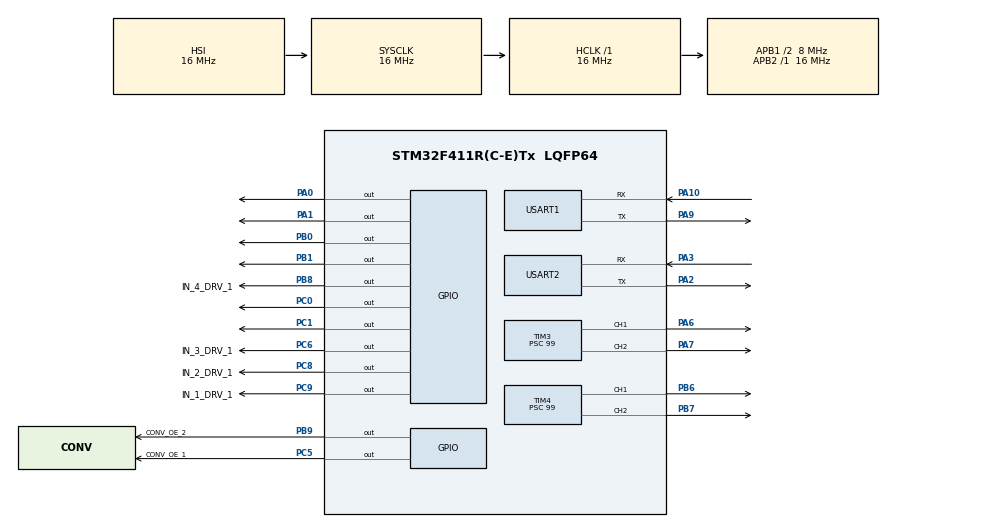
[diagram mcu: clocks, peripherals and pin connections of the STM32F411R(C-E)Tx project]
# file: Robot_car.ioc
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Mcu.Family=STM32F4
Mcu.Name=STM32F411R(C-E)Tx
Mcu.Package=LQFP64
NVIC.PriorityGroup=NVIC_PRIORITYGROUP_4
NVIC.TIM4_IRQn=true\:0\:0\:false\:false\:true\:true\:true\:true
NVIC.USART1_IRQn=true\:0\:0\:false\:false\:true\:true\:true\:true
NVIC.USART2_IRQn=true\:0\:0\:false\:false\:true\:true\:true\:true
PA0-WKUP.Signal=GPIO_Output
PA1.Signal=GPIO_Output
PA10.Mode=Asynchronous
PA10.Signal=USART1_RX
PA13.Mode=Serial_Wire
PA13.Signal=SYS_JTMS-SWDIO
PA14.Mode=Serial_Wire
PA14.Signal=SYS_JTCK-SWCLK
PA2.Mode=Asynchronous
PA2.Signal=USART2_TX
PA3.Mode=Asynchronous
PA3.Signal=USART2_RX
PA6.Signal=S_TIM3_CH1
PA7.Signal=S_TIM3_CH2
PA9.Mode=Asynchronous
PA9.Signal=USART1_TX
PB0.Signal=GPIO_Output
PB1.Signal=GPIO_Output
PB6.Signal=S_TIM4_CH1
PB7.Signal=S_TIM4_CH2
PB8.GPIO_Label=IN_4_DRV_1
PB8.GPIO_ModeDefaultOutputPP=GPIO_MODE_OUTPUT_OD
PB8.GPIO_PuPd=GPIO_NOPULL
PB8.Signal=GPIO_Output
PB9.GPIO_Label=CONV_OE_2
PB9.PinState=GPIO_PIN_SET
PB9.Signal=GPIO_Output
PC0.Signal=GPIO_Output
PC1.Signal=GPIO_Output
PC5.GPIO_Label=CONV_OE_1
PC5.PinState=GPIO_PIN_SET
PC5.Signal=GPIO_Output
PC6.GPIO_Label=IN_3_DRV_1
PC6.GPIO_ModeDefaultOutputPP=GPIO_MODE_OUTPUT_OD
PC6.GPIO_PuPd=GPIO_NOPULL
PC6.Signal=GPIO_Output
PC8.GPIO_Label=IN_2_DRV_1
PC8.GPIO_ModeDefaultOutputPP=GPIO_MODE_OUTPUT_OD
PC8.GPIO_PuPd=GPIO_NOPULL
PC8.Signal=GPIO_Output
PC9.GPIO_Label=IN_1_DRV_1
PC9.GPIO_ModeDefaultOutputPP=GPIO_MODE_OUTPUT_OD
PC9.GPIO_PuPd=GPIO_NOPULL
PC9.Signal=GPIO_Output
ProjectManager.HeapSize=0x200
ProjectManager.StackSize=0x400
ProjectManager.TargetToolchain=STM32CubeIDE
RCC.48MHZClocksFreq_Value=50000000
RCC.AHBFreq_Value=16000000
RCC.APB1CLKDivider=RCC_HCLK_DIV2
RCC.APB1Freq_Value=8000000
RCC.APB1TimFreq_Value=16000000
RCC.APB2Freq_Value=16000000
RCC.APB2TimFreq_Value=16000000
RCC.CortexFreq_Value=16000000
RCC.HCLKFreq_Value=16000000
RCC.HSE_VALUE=25000000
RCC.HSI_VALUE=16000000
RCC.LSE_VALUE=32768
RCC.PLLM=8
RCC.PLLN=100
RCC.SYSCLKFreq_VALUE=16000000
RCC.VCOOutputFreq_Value=200000000
SH.S_TIM3_CH1.0=TIM3_CH1,PWM Generation1 CH1
SH.S_TIM3_CH2.0=TIM3_CH2,PWM Generation2 CH2
SH.S_TIM4_CH1.0=TIM4_CH1,PWM Generation1 CH1
SH.S_TIM4_CH2.0=TIM4_CH2,PWM Generation2 CH2
TIM3.Channel-PWM\ Generation1\ CH1=TIM_CHANNEL_1
TIM3.Channel-PWM\ Generation2\ CH2=TIM_CHANNEL_2
TIM3.Period=1599
TIM3.Prescaler=99
TIM4.Channel-PWM\ Generation1\ CH1=TIM_CHANNEL_1
TIM4.Channel-PWM\ Generation2\ CH2=TIM_CHANNEL_2
TIM4.Period=1599
TIM4.Prescaler=99
USART1.VirtualMode=VM_ASYNC
USART2.VirtualMode=VM_ASYNC
VP_TIM3_VS_ClockSourceINT.Mode=Internal
VP_TIM4_VS_ClockSourceINT.Mode=Internal
board=custom

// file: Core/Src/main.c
/* USER CODE BEGIN Header */
/**
  ******************************************************************************
  * @file           : main.c
  * @brief          : Main program body
  ******************************************************************************
  * @attention
  *
  * Copyright (c) 2026 STMicroelectronics.
  * All rights reserved.
  *
  * This software is licensed under terms that can be found in the LICENSE file
  * in the root directory of this software component.
  * If no LICENSE file comes with this software, it is provided AS-IS.
  *
  ******************************************************************************
  */
/* USER CODE END Header */
#include "main.h"

/* USER CODE BEGIN Includes */
#include <stdio.h>
#include <stdlib.h>
#include <string.h>
#include <stdbool.h>
#include "rbot_app.h"
#include "rbot_platform.h"
/* USER CODE END Includes */

TIM_HandleTypeDef htim3;
TIM_HandleTypeDef htim4;

UART_HandleTypeDef huart1;
UART_HandleTypeDef huart2;

/* USER CODE BEGIN PV */
uint16_t  counter_time = 0;
static uint8_t uart2_rx_byte = 0;

uint8_t rxData[128];
uint8_t TxData[128];
uint8_t counterr = 9;
uint8_t buff[16] = {0,};
/* USER CODE END PV */

void SystemClock_Config(void);
static void MX_GPIO_Init(void);
static void MX_USART2_UART_Init(void);
static void MX_TIM4_Init(void);
static void MX_TIM3_Init(void);
static void MX_USART1_UART_Init(void);

/* USER CODE BEGIN 0 */
static void uart2_rx_start(void)
{
    HAL_UART_Receive_IT(&huart2, &uart2_rx_byte, 1);
}

void HAL_UART_RxCpltCallback(UART_HandleTypeDef *huart)
{
    if (huart->Instance == USART2) {
        rbot_app_on_byte(uart2_rx_byte);
        uart2_rx_start();
        return;
    }

    if (huart->Instance == USART1) {
        HAL_UART_Receive_IT(&huart1, (uint8_t *)buff, 15);
    }
}

void HAL_UART_ErrorCallback(UART_HandleTypeDef *huart)
{
    if (huart->Instance == USART2) {
        __HAL_UART_CLEAR_OREFLAG(huart);
        __HAL_UART_CLEAR_NEFLAG(huart);
        __HAL_UART_CLEAR_FEFLAG(huart);
        HAL_UART_AbortReceive(huart);
        uart2_rx_start();
    }
}

static void led_write(GPIO_PinState state)
{
    HAL_GPIO_WritePin(LED_GPIO_PORT, LED_GPIO_PIN, state);
}

static void led_boot_sequence(void)
{
    for (uint8_t i = 0; i < 3; i++) {
        led_write(GPIO_PIN_SET);
        HAL_Delay(100);
        led_write(GPIO_PIN_RESET);
        HAL_Delay(100);
    }
    HAL_Delay(400);
}

static void led_init(void)
{
    GPIO_InitTypeDef gpio = {0};
    gpio.Pin = LED_GPIO_PIN;
    gpio.Mode = GPIO_MODE_OUTPUT_PP;
    gpio.Pull = GPIO_NOPULL;
    gpio.Speed = GPIO_SPEED_FREQ_LOW;
    HAL_GPIO_Init(LED_GPIO_PORT, &gpio);
    HAL_GPIO_WritePin(LED_GPIO_PORT, LED_GPIO_PIN, GPIO_PIN_RESET);
}

static void motor_led_diag_update(void)
{
    static uint32_t last_toggle = 0;
    uint32_t now = HAL_GetTick();

    if (rbot_app_state() == RBOT_ARMED &&
        (rbot_app_left() != 0 || rbot_app_right() != 0)) {
        if (now - last_toggle >= 200U) {
            last_toggle = now;
            HAL_GPIO_TogglePin(LED_GPIO_PORT, LED_GPIO_PIN);
        }
        return;
    }

    HAL_GPIO_WritePin(LED_GPIO_PORT, LED_GPIO_PIN, GPIO_PIN_RESET);
}

static void motors_hw_init(void)
{
    HAL_TIM_PWM_Start(&htim4, TIM_CHANNEL_1);
    HAL_TIM_PWM_Start(&htim4, TIM_CHANNEL_2);
    HAL_TIM_PWM_Start(&htim3, TIM_CHANNEL_1);
    HAL_TIM_PWM_Start(&htim3, TIM_CHANNEL_2);
    HAL_GPIO_WritePin(GPIOB, GPIO_PIN_0, GPIO_PIN_SET);
    HAL_GPIO_WritePin(GPIOB, GPIO_PIN_1, GPIO_PIN_SET);
    HAL_GPIO_WritePin(GPIOC, GPIO_PIN_0, GPIO_PIN_SET);
    HAL_GPIO_WritePin(GPIOC, GPIO_PIN_1, GPIO_PIN_SET);
}

#if SELF_TEST
/* ШИМ сразу после старта, без Raspberry Pi. TIM4: PB6=CH1, PB7=CH2. */
static void boot_pwm_self_test(void)
{
    uint32_t arr = __HAL_TIM_GET_AUTORELOAD(&htim4);
    uint32_t duty = (arr * (uint32_t)MOTOR_PWM_PERCENT) / 100U;

    motors_hw_init();

#if MOTOR_DRIVE_MODE == MOTOR_DRIVE_REVERSE
    /* LPWM=ШИМ на PB6, RPWM=0 на PB7 */
    __HAL_TIM_SET_COMPARE(&htim4, TIM_CHANNEL_1, duty);
    __HAL_TIM_SET_COMPARE(&htim4, TIM_CHANNEL_2, 0);
#else
    /* LPWM=0 на PB6, RPWM=ШИМ на PB7 */
    __HAL_TIM_SET_COMPARE(&htim4, TIM_CHANNEL_1, 0);
    __HAL_TIM_SET_COMPARE(&htim4, TIM_CHANNEL_2, duty);
#endif
}
#endif
/* USER CODE END 0 */

int main(void)
{

  /* USER CODE BEGIN 1 */
	TxData[0]=8;
  /* USER CODE END 1 */

  /* MCU Configuration--------------------------------------------------------*/

  /* Reset of all peripherals, Initializes the Flash interface and the Systick. */
  HAL_Init();

  /* Configure the system clock */
  SystemClock_Config();

  /* Initialize all configured peripherals */
  MX_GPIO_Init();
  MX_USART2_UART_Init();
  MX_TIM4_Init();
  MX_TIM3_Init();
  MX_USART1_UART_Init();
  /* USER CODE BEGIN 2 */
  led_init();
  led_boot_sequence();
  rbot_platform_init();
  uart2_rx_start();
  HAL_UART_Receive_IT(&huart1, (uint8_t*)buff, 15);

  HAL_GPIO_WritePin(GPIOC, IN_1_DRV_1_Pin, GPIO_PIN_SET);
  HAL_GPIO_WritePin(GPIOC, IN_2_DRV_1_Pin, GPIO_PIN_RESET);
  HAL_GPIO_WritePin(GPIOC, IN_3_DRV_1_Pin, GPIO_PIN_SET);
  HAL_GPIO_WritePin(GPIOB, IN_4_DRV_1_Pin, GPIO_PIN_RESET);
#if SELF_TEST
  boot_pwm_self_test();
#else
  motors_hw_init();
#endif
  /* USER CODE END 2 */

  /* Infinite loop */
  /* USER CODE BEGIN WHILE */
  while (1)
  {
	  HAL_GPIO_WritePin(GPIOC, IN_1_DRV_1_Pin, GPIO_PIN_SET);
	  HAL_GPIO_WritePin(GPIOC, IN_2_DRV_1_Pin, GPIO_PIN_RESET);
	  HAL_GPIO_WritePin(GPIOC, IN_3_DRV_1_Pin, GPIO_PIN_SET);
	  HAL_GPIO_WritePin(GPIOB, IN_4_DRV_1_Pin, GPIO_PIN_RESET);
	  // rbot_app_tick();
	  // motor_led_diag_update();
	  // HAL_Delay(1);
	  /*
	   * LPWM HIGH L_EN и R_EN HIGH
	    */

	  /*реализация программного ШИМа
	  HAL_GPIO_WritePin(GPIOA, GPIO_PIN_0, GPIO_PIN_RESET);//LPWM
	  HAL_GPIO_WritePin(GPIOA, GPIO_PIN_1, GPIO_PIN_RESET);
	  HAL_Delay(10);
	  //HAL_GPIO_WritePin(GPIOA, GPIO_PIN_0, GPIO_PIN_SET);
	  HAL_GPIO_WritePin(GPIOA, GPIO_PIN_1, GPIO_PIN_SET);
	  HAL_Delay(10);*/

	  //L_EN и R_EN высокий уровень для вращения моторов
	  //L_PWM и R_PWM - выводы ШИМ
	  /*
	   * //  Движение вперёд на 50% скорости:
	  digitalWrite(L_PWM, LOW );
      digitalWrite(R_PWM, HIGH);
      analogWrite (EN,    127 );
      delay(3000);
	  //  Движение вперёд на 100% скорости:
      digitalWrite(L_PWM, LOW );
      digitalWrite(R_PWM, HIGH);
      analogWrite (EN,    255 );
      delay(3000);
	  //  Свободное вращение:
      digitalWrite(EN,    LOW );
      delay(3000);
	  //  Движение назад на 50% скорости:
      digitalWrite(L_PWM, HIGH);
      digitalWrite(R_PWM, LOW );
      analogWrite (EN,    127 );
      delay(3000);
	  //  Движение назад на 100% скорости:
      digitalWrite(L_PWM, HIGH);
      digitalWrite(R_PWM, LOW );
      digitalWrite(EN,    HIGH);
      delay(3000);                /
	  //  Торможение с силой 50%:
      digitalWrite(L_PWM, HIGH);
      digitalWrite(R_PWM, HIGH);
      analogWrite (EN,    127 );
      delay(3000);
		   */
    /* USER CODE END WHILE */

  }
}

void SystemClock_Config(void)
{
  RCC_OscInitTypeDef RCC_OscInitStruct = {0};
  RCC_ClkInitTypeDef RCC_ClkInitStruct = {0};

  /** Configure the main internal regulator output voltage
  */
  __HAL_RCC_PWR_CLK_ENABLE();
  __HAL_PWR_VOLTAGESCALING_CONFIG(PWR_REGULATOR_VOLTAGE_SCALE1);

  /** Initializes the RCC Oscillators according to the specified parameters
  * in the RCC_OscInitTypeDef structure.
  */
  RCC_OscInitStruct.OscillatorType = RCC_OSCILLATORTYPE_HSI;
  RCC_OscInitStruct.HSIState = RCC_HSI_ON;
  RCC_OscInitStruct.HSICalibrationValue = RCC_HSICALIBRATION_DEFAULT;
  RCC_OscInitStruct.PLL.PLLState = RCC_PLL_NONE;
  if (HAL_RCC_OscConfig(&RCC_OscInitStruct) != HAL_OK)
  {
    Error_Handler();
  }

  /** Initializes the CPU, AHB and APB buses clocks
  */
  RCC_ClkInitStruct.ClockType = RCC_CLOCKTYPE_HCLK|RCC_CLOCKTYPE_SYSCLK
                              |RCC_CLOCKTYPE_PCLK1|RCC_CLOCKTYPE_PCLK2;
  RCC_ClkInitStruct.SYSCLKSource = RCC_SYSCLKSOURCE_HSI;
  RCC_ClkInitStruct.AHBCLKDivider = RCC_SYSCLK_DIV1;
  RCC_ClkInitStruct.APB1CLKDivider = RCC_HCLK_DIV2;
  RCC_ClkInitStruct.APB2CLKDivider = RCC_HCLK_DIV1;

  if (HAL_RCC_ClockConfig(&RCC_ClkInitStruct, FLASH_LATENCY_0) != HAL_OK)
  {
    Error_Handler();
  }
}

static void MX_TIM3_Init(void)
{

  TIM_ClockConfigTypeDef sClockSourceConfig = {0};
  TIM_MasterConfigTypeDef sMasterConfig = {0};
  TIM_OC_InitTypeDef sConfigOC = {0};

  htim3.Instance = TIM3;
  htim3.Init.Prescaler = 99;
  htim3.Init.CounterMode = TIM_COUNTERMODE_UP;
  htim3.Init.Period = 1599;
  htim3.Init.ClockDivision = TIM_CLOCKDIVISION_DIV1;
  htim3.Init.AutoReloadPreload = TIM_AUTORELOAD_PRELOAD_DISABLE;
  if (HAL_TIM_Base_Init(&htim3) != HAL_OK)
  {
    Error_Handler();
  }
  sClockSourceConfig.ClockSource = TIM_CLOCKSOURCE_INTERNAL;
  if (HAL_TIM_ConfigClockSource(&htim3, &sClockSourceConfig) != HAL_OK)
  {
    Error_Handler();
  }
  if (HAL_TIM_PWM_Init(&htim3) != HAL_OK)
  {
    Error_Handler();
  }
  sMasterConfig.MasterOutputTrigger = TIM_TRGO_RESET;
  sMasterConfig.MasterSlaveMode = TIM_MASTERSLAVEMODE_DISABLE;
  if (HAL_TIMEx_MasterConfigSynchronization(&htim3, &sMasterConfig) != HAL_OK)
  {
    Error_Handler();
  }
  sConfigOC.OCMode = TIM_OCMODE_PWM1;
  sConfigOC.Pulse = 0;
  sConfigOC.OCPolarity = TIM_OCPOLARITY_HIGH;
  sConfigOC.OCFastMode = TIM_OCFAST_DISABLE;
  if (HAL_TIM_PWM_ConfigChannel(&htim3, &sConfigOC, TIM_CHANNEL_1) != HAL_OK)
  {
    Error_Handler();
  }
  if (HAL_TIM_PWM_ConfigChannel(&htim3, &sConfigOC, TIM_CHANNEL_2) != HAL_OK)
  {
    Error_Handler();
  }
  HAL_TIM_MspPostInit(&htim3);

}

static void MX_TIM4_Init(void)
{

  TIM_ClockConfigTypeDef sClockSourceConfig = {0};
  TIM_MasterConfigTypeDef sMasterConfig = {0};
  TIM_OC_InitTypeDef sConfigOC = {0};

  htim4.Instance = TIM4;
  htim4.Init.Prescaler = 99;
  htim4.Init.CounterMode = TIM_COUNTERMODE_UP;
  htim4.Init.Period = 1599;
  htim4.Init.ClockDivision = TIM_CLOCKDIVISION_DIV1;
  htim4.Init.AutoReloadPreload = TIM_AUTORELOAD_PRELOAD_DISABLE;
  if (HAL_TIM_Base_Init(&htim4) != HAL_OK)
  {
    Error_Handler();
  }
  sClockSourceConfig.ClockSource = TIM_CLOCKSOURCE_INTERNAL;
  if (HAL_TIM_ConfigClockSource(&htim4, &sClockSourceConfig) != HAL_OK)
  {
    Error_Handler();
  }
  if (HAL_TIM_PWM_Init(&htim4) != HAL_OK)
  {
    Error_Handler();
  }
  sMasterConfig.MasterOutputTrigger = TIM_TRGO_RESET;
  sMasterConfig.MasterSlaveMode = TIM_MASTERSLAVEMODE_DISABLE;
  if (HAL_TIMEx_MasterConfigSynchronization(&htim4, &sMasterConfig) != HAL_OK)
  {
    Error_Handler();
  }
  sConfigOC.OCMode = TIM_OCMODE_PWM1;
  sConfigOC.Pulse = 0;
  sConfigOC.OCPolarity = TIM_OCPOLARITY_HIGH;
  sConfigOC.OCFastMode = TIM_OCFAST_DISABLE;
  if (HAL_TIM_PWM_ConfigChannel(&htim4, &sConfigOC, TIM_CHANNEL_1) != HAL_OK)
  {
    Error_Handler();
  }
  if (HAL_TIM_PWM_ConfigChannel(&htim4, &sConfigOC, TIM_CHANNEL_2) != HAL_OK)
  {
    Error_Handler();
  }
  HAL_TIM_MspPostInit(&htim4);

}

static void MX_USART1_UART_Init(void)
{

  huart1.Instance = USART1;
  huart1.Init.BaudRate = 115200;
  huart1.Init.WordLength = UART_WORDLENGTH_8B;
  huart1.Init.StopBits = UART_STOPBITS_1;
  huart1.Init.Parity = UART_PARITY_NONE;
  huart1.Init.Mode = UART_MODE_TX_RX;
  huart1.Init.HwFlowCtl = UART_HWCONTROL_NONE;
  huart1.Init.OverSampling = UART_OVERSAMPLING_16;
  if (HAL_UART_Init(&huart1) != HAL_OK)
  {
    Error_Handler();
  }

}

static void MX_USART2_UART_Init(void)
{

  huart2.Instance = USART2;
  huart2.Init.BaudRate = 115200;
  huart2.Init.WordLength = UART_WORDLENGTH_8B;
  huart2.Init.StopBits = UART_STOPBITS_1;
  huart2.Init.Parity = UART_PARITY_NONE;
  huart2.Init.Mode = UART_MODE_TX_RX;
  huart2.Init.HwFlowCtl = UART_HWCONTROL_NONE;
  huart2.Init.OverSampling = UART_OVERSAMPLING_16;
  if (HAL_UART_Init(&huart2) != HAL_OK)
  {
    Error_Handler();
  }

}

static void MX_GPIO_Init(void)
{
  GPIO_InitTypeDef GPIO_InitStruct = {0};

  /* GPIO Ports Clock Enable */
  __HAL_RCC_GPIOC_CLK_ENABLE();
  __HAL_RCC_GPIOA_CLK_ENABLE();
  __HAL_RCC_GPIOB_CLK_ENABLE();

  /*Configure GPIO pin Output Level */
  HAL_GPIO_WritePin(GPIOC, GPIO_PIN_0|GPIO_PIN_1|IN_3_DRV_1_Pin|IN_2_DRV_1_Pin
                          |IN_1_DRV_1_Pin, GPIO_PIN_RESET);

  /*Configure GPIO pin Output Level */
  HAL_GPIO_WritePin(GPIOA, GPIO_PIN_0|GPIO_PIN_1, GPIO_PIN_RESET);

  /*Configure GPIO pin Output Level */
  HAL_GPIO_WritePin(CONV_OE_1_GPIO_Port, CONV_OE_1_Pin, GPIO_PIN_SET);

  /*Configure GPIO pin Output Level */
  HAL_GPIO_WritePin(GPIOB, GPIO_PIN_0|GPIO_PIN_1|IN_4_DRV_1_Pin, GPIO_PIN_RESET);

  /*Configure GPIO pin Output Level */
  HAL_GPIO_WritePin(CONV_OE_2_GPIO_Port, CONV_OE_2_Pin, GPIO_PIN_SET);

  /*Configure GPIO pins : PC0 PC1 CONV_OE_1_Pin */
  GPIO_InitStruct.Pin = GPIO_PIN_0|GPIO_PIN_1|CONV_OE_1_Pin;
  GPIO_InitStruct.Mode = GPIO_MODE_OUTPUT_PP;
  GPIO_InitStruct.Pull = GPIO_NOPULL;
  GPIO_InitStruct.Speed = GPIO_SPEED_FREQ_LOW;
  HAL_GPIO_Init(GPIOC, &GPIO_InitStruct);

  /*Configure GPIO pins : PA0 PA1 */
  GPIO_InitStruct.Pin = GPIO_PIN_0|GPIO_PIN_1;
  GPIO_InitStruct.Mode = GPIO_MODE_OUTPUT_PP;
  GPIO_InitStruct.Pull = GPIO_NOPULL;
  GPIO_InitStruct.Speed = GPIO_SPEED_FREQ_LOW;
  HAL_GPIO_Init(GPIOA, &GPIO_InitStruct);

  /*Configure GPIO pins : PB0 PB1 CONV_OE_2_Pin */
  GPIO_InitStruct.Pin = GPIO_PIN_0|GPIO_PIN_1|CONV_OE_2_Pin;
  GPIO_InitStruct.Mode = GPIO_MODE_OUTPUT_PP;
  GPIO_InitStruct.Pull = GPIO_NOPULL;
  GPIO_InitStruct.Speed = GPIO_SPEED_FREQ_LOW;
  HAL_GPIO_Init(GPIOB, &GPIO_InitStruct);

  /*Configure GPIO pins : IN_3_DRV_1_Pin IN_2_DRV_1_Pin IN_1_DRV_1_Pin */
  GPIO_InitStruct.Pin = IN_3_DRV_1_Pin|IN_2_DRV_1_Pin|IN_1_DRV_1_Pin;
  GPIO_InitStruct.Mode = GPIO_MODE_OUTPUT_OD;
  GPIO_InitStruct.Pull = GPIO_NOPULL;
  GPIO_InitStruct.Speed = GPIO_SPEED_FREQ_LOW;
  HAL_GPIO_Init(GPIOC, &GPIO_InitStruct);

  /*Configure GPIO pin : IN_4_DRV_1_Pin */
  GPIO_InitStruct.Pin = IN_4_DRV_1_Pin;
  GPIO_InitStruct.Mode = GPIO_MODE_OUTPUT_OD;
  GPIO_InitStruct.Pull = GPIO_NOPULL;
  GPIO_InitStruct.Speed = GPIO_SPEED_FREQ_LOW;
  HAL_GPIO_Init(IN_4_DRV_1_GPIO_Port, &GPIO_InitStruct);

}

void Error_Handler(void)
{
  __disable_irq();
  while (1)
  {
  }
}
